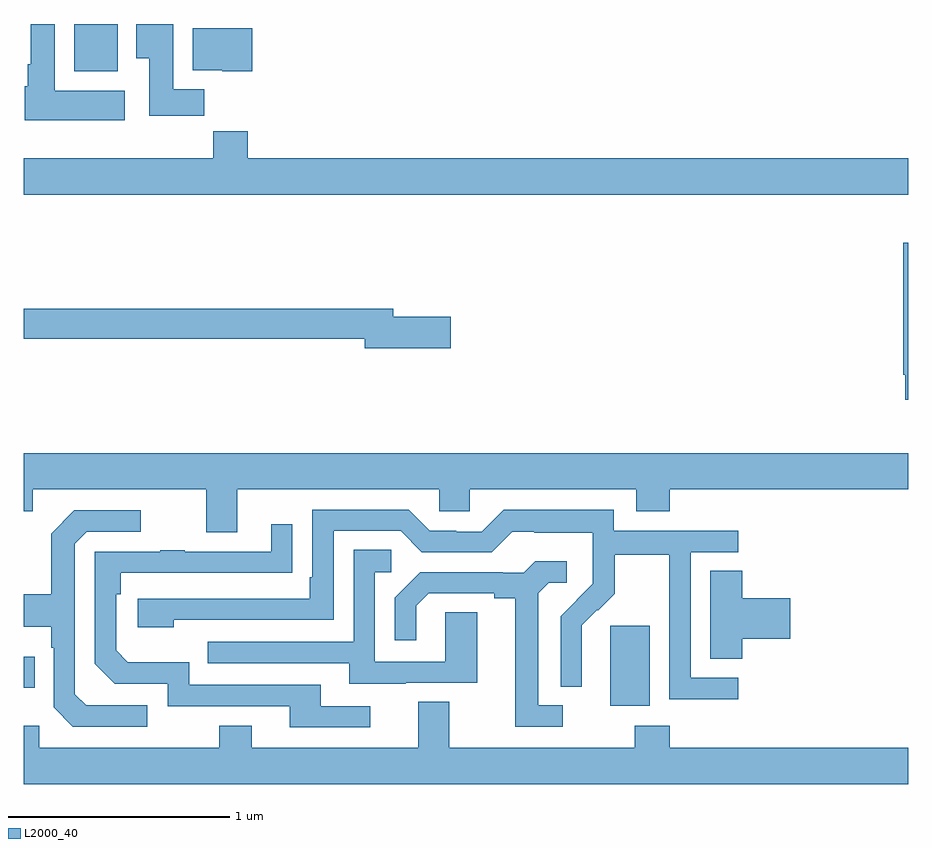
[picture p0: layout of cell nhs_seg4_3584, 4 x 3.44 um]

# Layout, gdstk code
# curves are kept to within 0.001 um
import gdstk
lib = gdstk.Library(unit=1e-6, precision=1e-09)
def R(c, l, rs):  # rectangles x0, y0, x1, y1
    for r in rs: c.add(gdstk.rectangle(r[:2], r[2:], *l))
def P(c, l, *ps):  # polygons
    for p in ps: c.add(gdstk.Polygon(p, *l))
L2000_40 = (2000, 40)

nhs_seg4_3584 = lib.new_cell('nhs_seg4_3584')
R(nhs_seg4_3584, L2000_40, [(301.652,819.818,301.831,820.179), (299,819.899,299.051,820.039), (299.228,822.686,299.425,822.9)])
P(nhs_seg4_3584, L2000_40, [(299.458,822.598),(299.14,822.598),(299.14,822.9),(299.033,822.9),(299.033,822.718),(299.018,822.718),(299.018,822.618),(299.006,822.618),(299.006,822.464),(299.458,822.464)],
  [(299.816,822.604),(299.677,822.604),(299.677,822.9),(299.51,822.9),(299.51,822.745),(299.567,822.745),(299.567,822.486),(299.816,822.486)],
  [(300.034,822.88),(299.765,822.88),(299.765,822.692),(299.898,822.692),(299.898,822.686),(300.034,822.686)],
  [(303,822.292),(300.014,822.292),(300.014,822.416),(299.857,822.416),(299.857,822.292),(299,822.292),(299,822.128),(303,822.128)],
  [(303,821.912),(302.977,821.912),(302.977,821.314),(302.985,821.314),(302.985,821.202),(303,821.202)],
  [(300.931,821.576),(300.67,821.576),(300.67,821.612),(299,821.612),(299,821.476),(300.542,821.476),(300.542,821.434),(300.931,821.434)],
  [(299.965,820.796),(300.879,820.796),(300.879,820.698),(301.017,820.698),(301.017,820.796),(301.769,820.796),(301.769,820.697),(301.922,820.697),(301.922,820.796),(303,820.796),(303,820.96),(299,820.96),(299,820.697),(299.041,820.697),(299.041,820.796),(299.825,820.796),(299.825,820.602),(299.965,820.602)],
  [(302.23,819.945),(302.016,819.945),(302.016,820.512),(302.23,820.512),(302.23,820.608),(301.668,820.608),(301.668,820.705),(301.171,820.705),(301.071,820.605),(300.956,820.605),(300.956,820.608),(300.837,820.608),(300.741,820.704),(300.306,820.704),(300.306,820.399),(300.293,820.399),(300.293,820.302),(299.517,820.302),(299.517,820.172),(299.678,820.172),(299.678,820.206),(300.402,820.206),(300.402,820.608),(300.705,820.608),(300.801,820.512),(301.116,820.512),(301.209,820.605),(301.309,820.605),(301.309,820.601),(301.572,820.601),(301.572,820.467),(301.574,820.467),(301.574,820.37),(301.428,820.222),(301.428,819.904),(301.524,819.904),(301.523,820.181),(301.593,820.251),(301.596,820.248),(301.673,820.325),(301.673,820.5),(301.918,820.5),(301.918,820.276),(301.92,820.276),(301.92,819.847),(302.23,819.847)],
  [(299.56,819.819),(299.283,819.819),(299.232,819.87),(299.232,820.551),(299.286,820.605),(299.53,820.605),(299.53,820.701),(299.229,820.701),(299.124,820.595),(299.124,820.323),(299,820.323),(299,820.175),(299.124,820.175),(299.124,820.079),(299.136,820.079),(299.136,819.81),(299.223,819.723),(299.56,819.723)],
  [(300.568,819.816),(300.343,819.816),(300.343,819.912),(299.748,819.912),(299.748,820.015),(299.471,820.015),(299.418,820.068),(299.418,820.322),(299.438,820.322),(299.438,820.419),(300.215,820.42),(300.215,820.639),(300.119,820.639),(300.119,820.515),(299.729,820.515),(299.729,820.52),(299.617,820.52),(299.617,820.515),(299.322,820.515),(299.322,820.008),(299.412,819.918),(299.652,819.918),(299.652,819.816),(300.203,819.816),(300.203,819.72),(300.568,819.72)],
  [(300.727,819.921),(301.051,819.921),(301.051,820.241),(300.906,820.241),(300.906,820.017),(300.588,820.017),(300.588,820.422),(300.661,820.422),(300.661,820.523),(300.492,820.523),(300.492,820.107),(299.833,820.107),(299.833,820.011),(300.473,820.011),(300.473,819.917),(300.727,819.917)],
  [(301.438,819.819),(301.327,819.819),(301.327,820.327),(301.374,820.374),(301.456,820.374),(301.456,820.471),(301.312,820.471),(301.26,820.419),(301.166,820.419),(301.166,820.422),(300.794,820.422),(300.678,820.306),(300.678,820.113),(300.775,820.113),(300.775,820.269),(300.832,820.326),(301.127,820.326),(301.127,820.304),(301.223,820.304),(301.223,819.723),(301.438,819.723)],
  [(302.249,820.121),(302.467,820.121),(302.467,820.304),(302.249,820.304),(302.249,820.427),(302.105,820.427),(302.105,820.03),(302.249,820.03)],
  [(303,819.628),(301.922,819.628),(301.922,819.727),(301.762,819.727),(301.762,819.628),(300.925,819.628),(300.925,819.836),(300.785,819.836),(300.785,819.628),(300.031,819.628),(300.031,819.727),(299.884,819.727),(299.884,819.628),(299.07,819.628),(299.07,819.727),(299,819.727),(299,819.464),(303,819.464)])

lib.write_gds('nhs_seg4_3584.gds')
